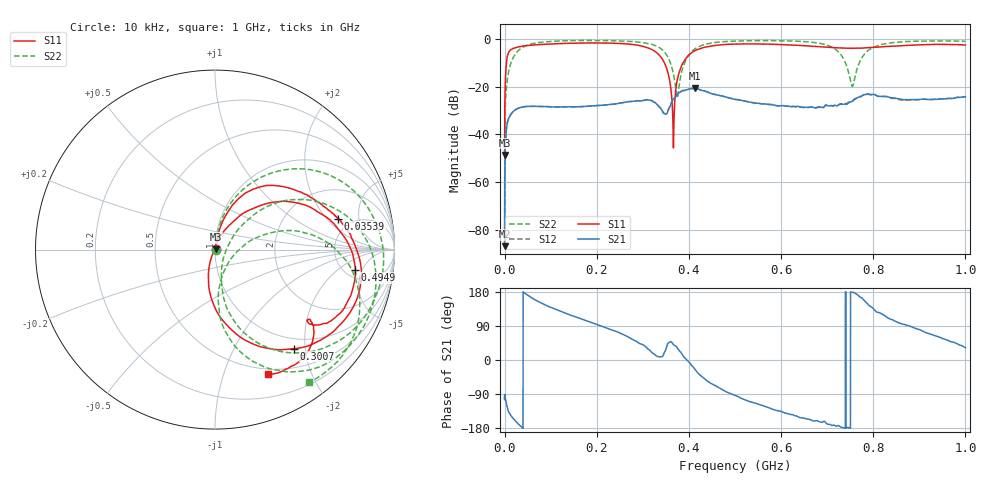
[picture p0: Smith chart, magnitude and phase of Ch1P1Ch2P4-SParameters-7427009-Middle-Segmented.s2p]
#  HZ  S  DB  R  50.00
! Rohde & Schwarz Vector Network Analyzer
! Rohde-Schwarz,ZNL6-2Port,1323001206101709,1.40.1.1-21.04.2.40
! Created: UTC 3/14/2023, 12:20:18 PM
! freq[Hz]  db:S11  ang:S11  db:S21  ang:S21  db:S12  ang:S12  db:S22  ang:S22
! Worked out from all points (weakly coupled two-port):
!   4997 points, 10 kHz to 1 GHz, reference 50 ohm
!   highest |S21| = -20.60 dB at 413 MHz (marker M1); lowest = -87.0 dB at 10 kHz (marker M2)
!   lowest |S11| = -48.6 dB at 10 kHz (marker M3), VSWR 1.01, Z = 50.3 + j0.159 ohm
!   |S11| at or under -10 dB: start of sweep to 3.995 MHz; 347 MHz to 387 MHz (40.05 MHz wide, 10.9 % of centre)
!   |S22| runs from -48.9 to -0.5 dB; largest |S21 - S12| = 0.004
!   S11 on the Smith chart (normalised r, x): 10 kHz: 1.01, +0.00; 35.39 MHz: 3.92, +2.68; 300.7 MHz: 0.81, -1.79; 494.9 MHz: 6.19, -3.74; 1 GHz: 0.44, -1.42
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10000  -48.65 25.3  -86.96 -97.5  -86.75 -101.9  -48.75 1.3
101000  -39.37 65.1  -68.39 -92.9  -68.46 -93.1  -46.99 34.4
1010000  -21.27 78.5  -48.82 -97.1  -48.81 -97.1  -31.89 79.2
6427968  -6.74 51.0  -34.66 -128.7  -34.69 -129.0  -16.12 78.1
3.539326e7  -3.01 13.9  -28.62 -175.0  -28.62 -176.8  -3.85 44.6
8.227952e7  -2.17 2.0  -28.27 148.8  -28.28 147.3  -1.19 17.6
1.668832e8  -1.60 -12.2  -28.32 108.5  -28.32 107.0  -0.52 -4.2
3.006653e8  -3.02 -51.5  -25.75 39.8  -25.79 38.5  -1.43 -37.6
3.333815e8  -6.26 -75.7  -27.95 8.8  -27.93 7.5  -3.25 -56.1
3.535947e8  -13.46 -99.3  -30.66 41.8  -30.52 40.0  -7.26 -74.0
3.663061e8  -45.68 174.1  -25.13 40.7  -25.22 38.8  -14.44 -78.8
3.756833e8  -16.23 59.8  -22.91 30.3  -23.02 28.8  -23.93 0.3
3.908953e8  -8.78 43.3  -21.48 6.4  -21.54 5.2  -9.79 41.3
4.12984e8  -4.79 24.6  -20.60 -24.1  -20.66 -25.3  -4.05 25.3
4.948786e8  -2.05 -8.3  -25.04 -91.2  -24.99 -92.4  -0.82 -9.6
5.000882e8  -2.01 -9.5  -25.32 -93.5  -25.27 -94.8  -0.78 -10.9
6.667949e8  -2.93 -36.1  -28.45 -159.4  -28.58 -160.7  -1.24 -49.5
7.245172e8  -3.62 -37.9  -27.63 -173.3  -27.54 -172.5  -5.34 -78.7
7.547327e8  -3.79 -37.1  -26.10 178.5  -25.78 177.1  -19.82 -33.8
7.828645e8  -3.58 -36.5  -23.21 153.9  -23.04 151.9  -5.84 10.5
8.335017e8  -3.04 -38.9  -24.30 110.3  -24.51 107.5  -1.67 -15.1
1e9  -2.43 -67.0  -24.20 32.4  -24.18 30.8  -0.85 -54.6
